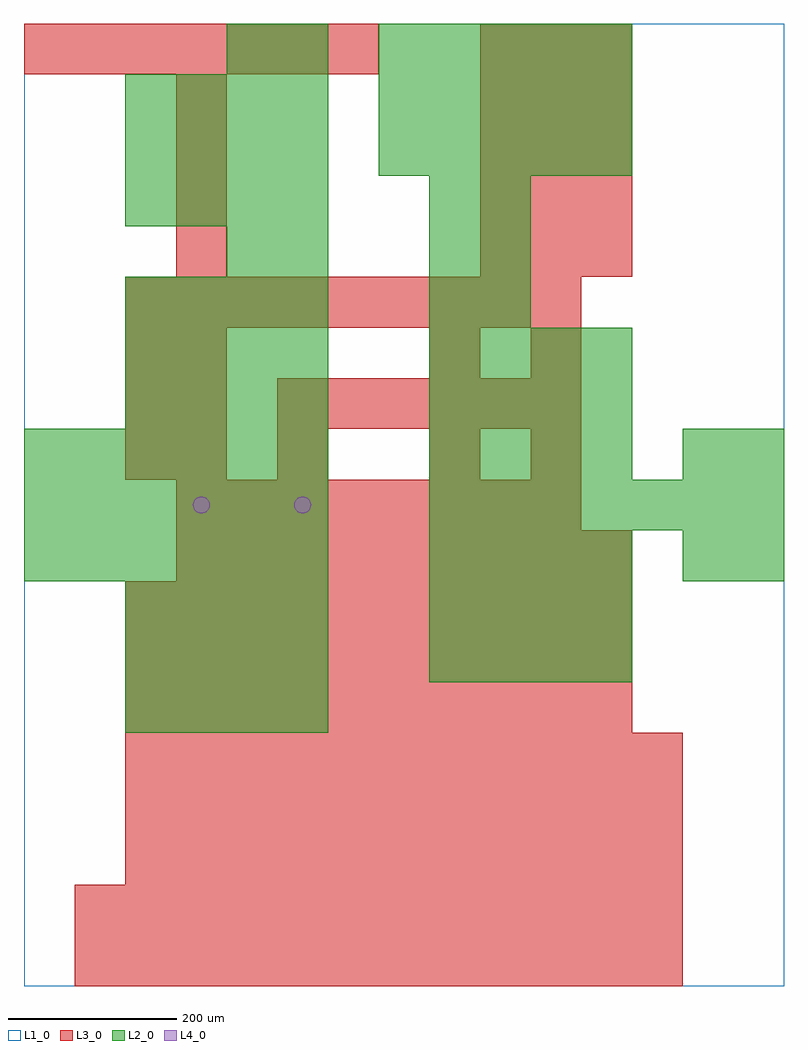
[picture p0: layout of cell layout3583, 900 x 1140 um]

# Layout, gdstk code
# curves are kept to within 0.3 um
import gdstk
lib = gdstk.Library(unit=1e-6, precision=1e-09)
def R(c, l, rs):  # rectangles x0, y0, x1, y1
    for r in rs: c.add(gdstk.rectangle(r[:2], r[2:], *l))
def A(c, l, x, y, w, h, nx, ny, dx, dy):  # array of equal rectangles
    R(c, l, [(x+i*dx, y+j*dy, x+i*dx+w, y+j*dy+h) for i in range(nx) for j in range(ny)])
def P(c, l, *ps):  # polygons
    for p in ps: c.add(gdstk.Polygon(p, *l))
L1_0 = (1, 0)
L2_0 = (2, 0)
L3_0 = (3, 0)
L4_0 = (4, 0)

layout3583 = lib.new_cell('layout3583')
R(layout3583, L1_0, [(0,0,900,1140)])
A(layout3583, L2_0, 120, 300, 60, 60, 4, 3, 60, 60)
A(layout3583, L2_0, 480, 360, 60, 60, 4, 3, 60, 60)
A(layout3583, L2_0, 0, 480, 60, 60, 6, 3, 60, 60)
A(layout3583, L2_0, 480, 540, 60, 60, 7, 1, 60, 0)
A(layout3583, L2_0, 480, 600, 60, 60, 4, 3, 60, 60)
A(layout3583, L2_0, 120, 660, 60, 60, 4, 3, 60, 60)
A(layout3583, L2_0, 480, 780, 60, 60, 1, 3, 0, 60)
A(layout3583, L2_0, 540, 780, 60, 60, 1, 3, 0, 60)
A(layout3583, L2_0, 120, 900, 60, 60, 4, 3, 60, 60)
A(layout3583, L2_0, 420, 960, 60, 60, 5, 3, 60, 60)
R(layout3583, L2_0, [(780,480,840,540), (840,480,900,540), (780,600,840,660), (840,600,900,660), (240,840,300,900), (300,840,360,900), (240,1080,300,1140), (300,1080,360,1140)])
A(layout3583, L3_0, 60, 0, 60, 60, 12, 2, 60, 60)
A(layout3583, L3_0, 120, 120, 60, 60, 11, 3, 60, 60)
A(layout3583, L3_0, 120, 300, 60, 60, 10, 3, 60, 60)
A(layout3583, L3_0, 180, 480, 60, 60, 9, 1, 60, 0)
A(layout3583, L3_0, 180, 540, 60, 60, 8, 1, 60, 0)
A(layout3583, L3_0, 120, 600, 60, 60, 1, 3, 0, 60)
A(layout3583, L3_0, 180, 600, 60, 60, 1, 3, 0, 60)
A(layout3583, L3_0, 300, 660, 60, 60, 6, 1, 60, 0)
A(layout3583, L3_0, 120, 780, 60, 60, 9, 1, 60, 0)
A(layout3583, L3_0, 180, 840, 60, 60, 1, 4, 0, 60)
A(layout3583, L3_0, 540, 840, 60, 60, 3, 5, 60, 60)
A(layout3583, L3_0, 0, 1080, 60, 60, 7, 1, 60, 0)
R(layout3583, L3_0, [(300,600,360,660), (480,600,540,660), (600,600,660,660), (480,720,540,780), (600,720,660,780)])
P(layout3583, L4_0, [(220,570),(219.239,573.827),(217.071,577.071),(213.827,579.239),(210,580),(206.173,579.239),(202.929,577.071),(200.761,573.827),(200,570),(200.761,566.173),(202.929,562.929),(206.173,560.761),(210,560),(213.827,560.761),(217.071,562.929),(219.239,566.173)],
  [(340,570),(339.239,573.827),(337.071,577.071),(333.827,579.239),(330,580),(326.173,579.239),(322.929,577.071),(320.761,573.827),(320,570),(320.761,566.173),(322.929,562.929),(326.173,560.761),(330,560),(333.827,560.761),(337.071,562.929),(339.239,566.173)])

lib.write_gds('layout3583.gds')
